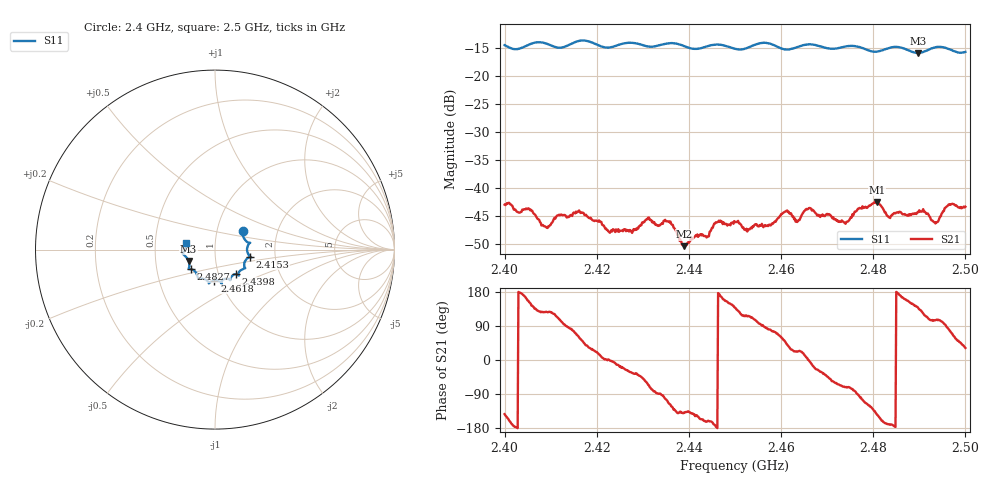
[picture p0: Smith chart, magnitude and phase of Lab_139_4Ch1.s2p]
# Hz S RI R 50
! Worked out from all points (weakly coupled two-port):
!   601 points, 2.4 GHz to 2.5 GHz, reference 50 ohm
!   highest |S21| = -42.45 dB at 2.4808 GHz (marker M1); lowest = -50.3 dB at 2.439 GHz (marker M2)
!   lowest |S11| = -15.9 dB at 2.4897 GHz (marker M3), VSWR 1.38, Z = 36.9 - j4.82 ohm
!   |S11| at or under -10 dB: start of sweep to end of sweep
!   S12 and S22 are empty: the file has one direction only
!   S11 on the Smith chart (normalised r, x): 2.4 GHz: 1.33, +0.29; 2.4153 GHz: 1.48, -0.12; 2.4398 GHz: 1.21, -0.34; 2.4618 GHz: 0.94, -0.33; 2.4827 GHz: 0.75, -0.17; 2.5 GHz: 0.72, +0.06
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2.4e9  0.1551 0.1064  -0.0057 -0.00433  0 0  0 0
2.409e9  0.1917 0.0347  -0.00275 0.00359  0 0  0 0
2.415333e9  0.1965 -0.0393  0.00198 0.00564  0 0  0 0
2.416667e9  0.2024 -0.0433  0.00368 0.00487  0 0  0 0
2.422833e9  0.1636 -0.0742  0.00402 -9.85e-05  0 0  0 0
2.433333e9  0.1301 -0.1337  0.000107 -0.00462  0 0  0 0
2.436e9  0.132 -0.145  -0.00238 -0.00447  0 0  0 0
2.439e9  0.123 -0.1372  -0.00227 -0.00204  0 0  0 0
2.439833e9  0.1158 -0.1363  -0.00236 -0.00233  0 0  0 0
2.45e9  0.0648 -0.1622  -0.00376 0.00335  0 0  0 0
2.452667e9  0.0399 -0.1733  -0.00175 0.00373  0 0  0 0
2.461833e9  -0.00332 -0.1726  0.00501 0.00323  0 0  0 0
2.463667e9  -0.0252 -0.1804  0.00473 0.00197  0 0  0 0
2.466667e9  -0.0344 -0.1878  0.00621 -0.00133  0 0  0 0
2.474e9  -0.0885 -0.1604  0.00152 -0.00459  0 0  0 0
2.480833e9  -0.1169 -0.1163  -0.00613 -0.0044  0 0  0 0
2.482667e9  -0.135 -0.1089  -0.00597 -0.00137  0 0  0 0
2.483333e9  -0.1401 -0.1085  -0.00546 -0.000977  0 0  0 0
2.489667e9  -0.1471 -0.0636  -0.00466 0.00402  0 0  0 0
2.4935e9  -0.1786 -0.0243  -0.00127 0.0047  0 0  0 0
2.4965e9  -0.1733 -0.0121  0.00132 0.00699  0 0  0 0
2.5e9  -0.1594 0.0383  0.00582 0.00361  0 0  0 0
